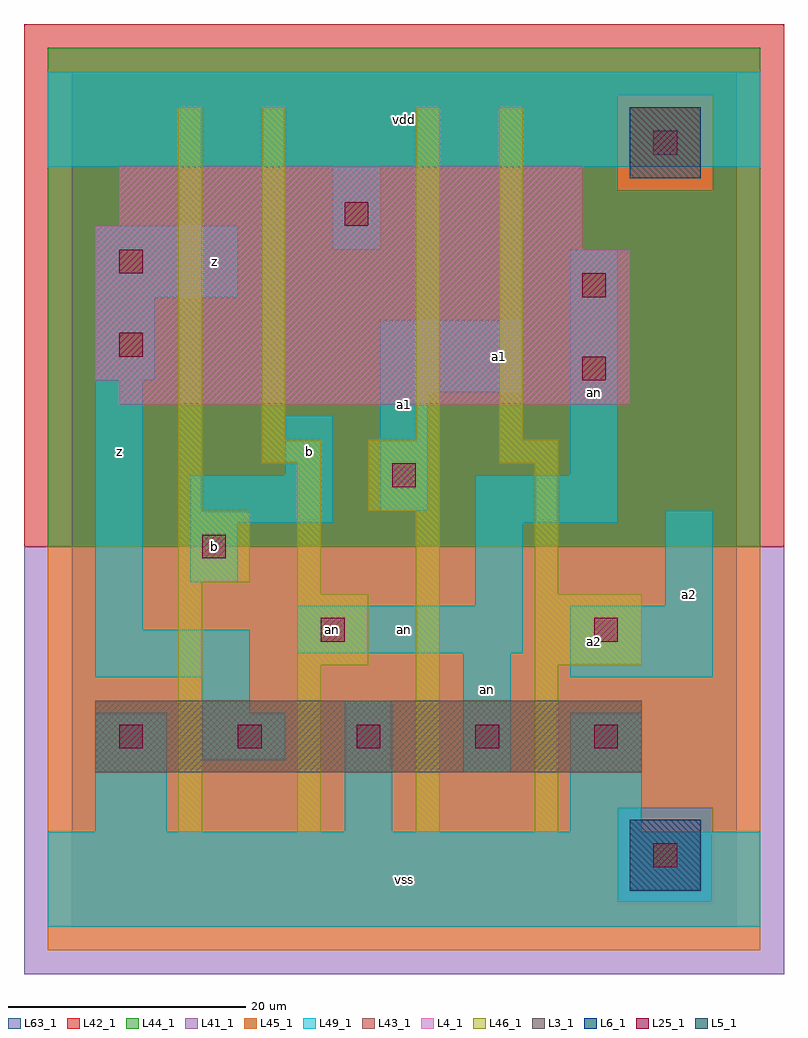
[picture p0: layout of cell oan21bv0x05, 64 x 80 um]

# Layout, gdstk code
import gdstk
lib = gdstk.Library(unit=1e-6, precision=1e-09)
def R(c, l, rs):  # rectangles x0, y0, x1, y1
    for r in rs: c.add(gdstk.rectangle(r[:2], r[2:], *l))
def A(c, l, x, y, w, h, nx, ny, dx, dy):  # array of equal rectangles
    R(c, l, [(x+i*dx, y+j*dy, x+i*dx+w, y+j*dy+h) for i in range(nx) for j in range(ny)])
L3_1 = (3, 1)
L4_1 = (4, 1)
L5_1 = (5, 1)
L6_1 = (6, 1)
L25_1 = (25, 1)
L41_1 = (41, 1)
L42_1 = (42, 1)
L43_1 = (43, 1)
L44_1 = (44, 1)
L45_1 = (45, 1)
L46_1 = (46, 1)
L49_1 = (49, 1)
L63_1 = (63, 1)

oan21bv0x05 = lib.new_cell('oan21bv0x05')
R(oan21bv0x05, L3_1, [(2,13,48,19)])
R(oan21bv0x05, L4_1, [(4,44,47,46), (2,46,47,57), (2,57,43,59), (4,59,43,64)])
R(oan21bv0x05, L5_1, [(47,63,53,69)])
R(oan21bv0x05, L6_1, [(47,3,53,9), (47,3,53,9)])
A(oan21bv0x05, L25_1, 4, 15, 2, 2, 5, 1, 10, 0)
R(oan21bv0x05, L25_1, [(49,5,51,7), (21,24,23,26), (44,24,46,26), (11,31,13,33), (27,37,29,39), (43,46,45,48), (4,48,6,50), (43,53,45,55), (4,55,6,57), (23,59,25,61), (49,65,51,67)])
R(oan21bv0x05, L41_1, [(-4,-4,60,32)])
R(oan21bv0x05, L42_1, [(-4,32,60,76)])
R(oan21bv0x05, L43_1, [(47,3,53,9), (2,13,48,19), (4,44,47,46), (2,46,47,57), (2,57,43,59), (4,59,43,64), (47,63,53,69)])
R(oan21bv0x05, L44_1, [(46,2,54,10), (-2,32,58,62), (-2,62,46,70), (54,62,58,70), (-2,70,58,74)])
R(oan21bv0x05, L45_1, [(-2,-2,58,2), (-2,2,46,10), (54,2,58,10), (-2,10,58,32), (46,62,54,70)])
R(oan21bv0x05, L46_1, [(9,8,11,29), (19,8,21,22), (29,8,31,35), (39,8,41,22), (19,22,25,28), (39,22,48,28), (19,28,21,39), (39,28,41,39), (9,29,15,35), (9,35,11,69), (25,35,31,41), (16,39,21,41), (36,39,41,41), (16,41,18,69), (29,41,31,69), (36,41,38,69)])
R(oan21bv0x05, L49_1, [(-2,0,58,8), (2,8,8,18), (23,8,27,19), (42,8,48,18), (33,13,37,23), (11,14,18,18), (11,18,15,21), (2,21,15,25), (42,21,54,27), (19,23,38,27), (2,25,6,46), (34,27,38,34), (50,27,54,35), (10,29,14,34), (10,34,22,38), (34,34,46,38), (26,35,30,45), (18,38,22,43), (42,38,46,57), (26,45,38,51), (2,46,7,53), (2,53,14,59), (22,57,26,64), (-2,64,58,72)])
R(oan21bv0x05, L63_1, [(0,0,56,72)])
oan21bv0x05.add(gdstk.Label('an', (22,25), layer=49, texttype=1))
oan21bv0x05.add(gdstk.Label('z', (4,40), layer=49, texttype=1))
oan21bv0x05.add(gdstk.Label('b', (12,32), layer=49, texttype=1))
oan21bv0x05.add(gdstk.Label('b', (20,40), layer=49, texttype=1))
oan21bv0x05.add(gdstk.Label('z', (12,56), layer=49, texttype=1))
oan21bv0x05.add(gdstk.Label('vss', (28,4), layer=49, texttype=1))
oan21bv0x05.add(gdstk.Label('an', (35,20), layer=49, texttype=1))
oan21bv0x05.add(gdstk.Label('an', (28,25), layer=49, texttype=1))
oan21bv0x05.add(gdstk.Label('a1', (28,44), layer=49, texttype=1))
oan21bv0x05.add(gdstk.Label('a1', (36,48), layer=49, texttype=1))
oan21bv0x05.add(gdstk.Label('vdd', (28,68), layer=49, texttype=1))
oan21bv0x05.add(gdstk.Label('a2', (44,24), layer=49, texttype=1))
oan21bv0x05.add(gdstk.Label('a2', (52,28), layer=49, texttype=1))
oan21bv0x05.add(gdstk.Label('an', (44,45), layer=49, texttype=1))

lib.write_gds('oan21bv0x05.gds')
